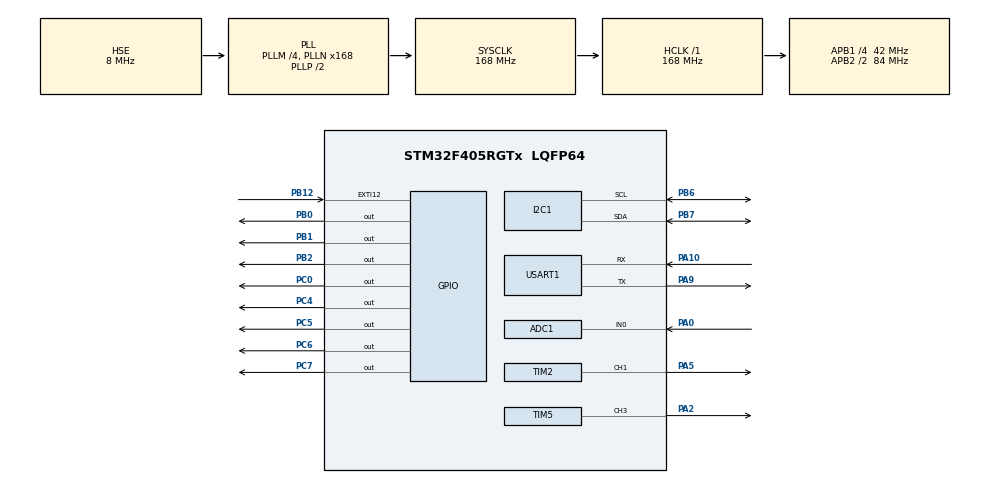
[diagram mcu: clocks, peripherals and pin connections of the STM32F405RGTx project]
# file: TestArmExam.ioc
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Mcu.Family=STM32F4
VP_TIM5_VS_ClockSourceINT.Mode=Internal
PH0-OSC_IN.Signal=RCC_OSC_IN
RCC.CortexFreq_Value=168000000
ADC1.ContinuousConvMode=ENABLE
RCC.SYSCLKSource=RCC_SYSCLKSOURCE_PLLCLK
ProjectManager.StackSize=0x400
RCC.HCLKFreq_Value=168000000
RCC.APB2TimFreq_Value=168000000
PB6.Signal=I2C1_SCL
Dma.ADC1.0.Direction=DMA_PERIPH_TO_MEMORY
PC7.Signal=GPIO_Output
SH.S_TIM5_CH3.0=TIM5_CH3,PWM Generation3 CH3
PB6.Mode=I2C
NVIC.DMA2_Stream0_IRQn=true\:0\:0\:false\:false\:true\:false\:true
Dma.ADC1.0.MemDataAlignment=DMA_MDATAALIGN_HALFWORD
RCC.AHBFreq_Value=168000000
PH0-OSC_IN.Mode=HSE-External-Oscillator
NVIC.EXTI15_10_IRQn=true\:0\:0\:false\:false\:true\:true\:true
ADC1.Channel-0\#ChannelRegularConversion=ADC_CHANNEL_0
RCC.HSE_VALUE=8000000
PB2.Signal=GPIO_Output
PA14.Mode=Serial_Wire
Dma.ADC1.0.PeriphInc=DMA_PINC_DISABLE
PB7.Signal=I2C1_SDA
SH.ADCx_IN0.0=ADC1_IN0,IN0
TIM2.Channel-PWM\ Generation1\ CH1=TIM_CHANNEL_1
ADC1.SamplingTime-0\#ChannelRegularConversion=ADC_SAMPLETIME_56CYCLES
PH1-OSC_OUT.Mode=HSE-External-Oscillator
Mcu.Package=LQFP64
TIM2.Prescaler=83
PB1.Signal=GPIO_Output
PA10.Signal=USART1_RX
RCC.APB2CLKDivider=RCC_HCLK_DIV2
RCC.APB1TimFreq_Value=84000000
Dma.ADC1.0.FIFOMode=DMA_FIFOMODE_DISABLE
PC5.Signal=GPIO_Output
NVIC.USART1_IRQn=true\:0\:0\:false\:false\:true\:true\:true
Dma.Request0=ADC1
RCC.PLLSourceVirtual=RCC_PLLSOURCE_HSE
Dma.ADC1.0.Instance=DMA2_Stream0
ADC1.Rank-0\#ChannelRegularConversion=1
PA10.Mode=Asynchronous
PC4.Signal=GPIO_Output
PC6.Signal=GPIO_Output
TIM5.Channel-PWM\ Generation3\ CH3=TIM_CHANNEL_3
PC0.Signal=GPIO_Output
RCC.APB1CLKDivider=RCC_HCLK_DIV4
PA0-WKUP.Signal=ADCx_IN0
PA13.Signal=SYS_JTMS-SWDIO
Dma.ADC1.0.PeriphDataAlignment=DMA_PDATAALIGN_HALFWORD
PA9.Mode=Asynchronous
ProjectManager.TargetToolchain=EWARM V8.32
Dma.ADC1.0.Mode=DMA_CIRCULAR
I2C1.I2C_Mode=I2C_Fast
Dma.ADC1.0.Priority=DMA_PRIORITY_LOW
PA9.Signal=USART1_TX
RCC.LSE_VALUE=32768
PA5.Signal=S_TIM2_CH1_ETR
board=custom
RCC.VCOOutputFreq_Value=336000000
RCC.APB2Freq_Value=84000000
VP_TIM2_VS_ClockSourceINT.Mode=Internal
PH1-OSC_OUT.Signal=RCC_OSC_OUT
ADC1.DMAContinuousRequests=ENABLE
TIM2.Period=100
PA13.Mode=Serial_Wire
Mcu.Name=STM32F405RGTx
PA2.Signal=S_TIM5_CH3
RCC.48MHZClocksFreq_Value=84000000
RCC.SYSCLKFreq_VALUE=168000000
ADC1.master=1
USART1.VirtualMode=VM_ASYNC
PB7.Mode=I2C
SH.S_TIM2_CH1_ETR.0=TIM2_CH1,PWM Generation1 CH1
PA14.Signal=SYS_JTCK-SWCLK
Dma.ADC1.0.MemInc=DMA_MINC_ENABLE
ProjectManager.HeapSize=0x200
RCC.HSI_VALUE=16000000
NVIC.PriorityGroup=NVIC_PRIORITYGROUP_4
ADC1.NbrOfConversionFlag=1
RCC.PLLM=4
RCC.PLLN=168
RCC.APB1Freq_Value=42000000
PB0.Signal=GPIO_Output
PB12.Signal=GPXTI12

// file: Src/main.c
/*
    Created: 2020-06-25
    Author: 임창섭
*/

#include "main.h"
#include "adc.h"
#include "dma.h"
#include "i2c.h"
#include "tim.h"
#include "usart.h"
#include "gpio.h"
#include "lcd.h"
#include "stdio.h"

// TEMP and HUMI
#define SHT2x_ADDR              0x40<<1
#define SHT2x_HOLD_MASTER_T     0xE3
#define SHT2x_HOLD_MASTER_RH    0xE5
#define SHT2x_NOHOLD_MASTER_T   0xF3
#define SHT2x_NOHOLD_MASTER_RH  0xF5
#define SHT2x_WRITE_USER_REG    0xE6
#define SHT2x_READ_USER_REG     0xE7
#define SHT2x_SOFT_RESET        0xFE

char menu = 0;
// UART
uint8_t rxData;

// LCD
char str[16];

// LED
uint16_t LED_Light=0;

// CDS
uint16_t CDS_Data;

// TEMP and HUMI
uint8_t i2cData[2];
uint16_t val = 0;
uint8_t mode;
float TEMP, HUMI;

// Piano
unsigned int DoReMi[8] = {523, 587, 659, 698, 783, 880, 987, 1046};
unsigned long pwmFreq;
unsigned char piano = 0;

void SystemClock_Config(void);

int fputc(int ch, FILE *stream)
{
  HAL_UART_Transmit(&huart1, (uint8_t*)&ch, 1, 10);
  return ch;
}

int main(void)
{
  HAL_Init();
  SystemClock_Config();

  MX_GPIO_Init();
  MX_DMA_Init();
  MX_ADC1_Init();
  MX_I2C1_Init();
  MX_TIM2_Init();
  MX_TIM5_Init();
  MX_USART1_UART_Init();

  lcdInit();
  HAL_UART_Receive_IT(&huart1, &rxData, 1); // UART 인터럽트 실행
  HAL_TIM_PWM_Start(&htim2, TIM_CHANNEL_1); // LED PWM 사용을 위한 설정
  HAL_ADC_Start_DMA(&hadc1, (uint32_t*)&CDS_Data, sizeof(CDS_Data)); // ADC -> CDS 사용을 위한 DMA 설정
  HAL_TIM_PWM_Start(&htim5, TIM_CHANNEL_3); // 부저 PWM 사용을 위한 설정

  lcdClear();
  printf("++++ Menu ++++\n");
  printf("L : LED\n");
  printf("C : CDS\n");
  printf("0~7 : Piano\n");
  printf("T : Temp & Humi\n");
  printf("push button : stop\n");

  while (1)
  {
        if(menu == 1)
        {
            // LED START
            TIM2->CCR1 = LED_Light;
            LED_Light+=15;
            if(LED_Light > 255) LED_Light = 0;
            // LED END
        }

        else if(menu == 2)
        {
            // CDS START
            lcdGotoXY(0, 0);
            sprintf(str, "Cds : %4d", CDS_Data);
            lcdPrint(str);
            // CDS END
        }

        else if(menu == 3)
        {
            // TEMP and HUMI START
            // TEMP
            mode = SHT2x_NOHOLD_MASTER_T;
            HAL_I2C_Master_Transmit(&hi2c1, SHT2x_ADDR, &mode, 1, 10);
            HAL_Delay(100);
            HAL_I2C_Master_Receive(&hi2c1, SHT2x_ADDR, i2cData, 2, 10);

            val = i2cData[0] << 8 | i2cData[1];
            TEMP = -46.85 + 175.72 * ((float)val / 65536);
            lcdGotoXY(0, 0);
            sprintf(str, "TEMP : %5.2lf", TEMP);
            lcdPrint(str);
            // HUMI
            mode = SHT2x_NOHOLD_MASTER_RH;
            HAL_I2C_Master_Transmit(&hi2c1, SHT2x_ADDR, &mode, 1, 10);
            HAL_Delay(100);
            HAL_I2C_Master_Receive(&hi2c1, SHT2x_ADDR, i2cData, 2, 10);

            val = i2cData[0] << 8 | i2cData[1];
            HUMI = -6 + 125 * ((float)val / 65536);
            lcdGotoXY(0, 1);
            sprintf(str, "HUMI : %5.2lf", HUMI);
            lcdPrint(str);
            // TEMP and HUMI END
        }

      else if(menu == 4)
      {
             // Piano START
            TIM5->EGR = TIM5->EGR & 0xFE; //~(0x01)
            pwmFreq = 84000000 / DoReMi[piano];
            TIM5->ARR = pwmFreq - 1;
            TIM5->CCR3 = pwmFreq / 2;
            TIM5->EGR = TIM5->EGR | 0x01;
            HAL_Delay(200);
            TIM5->CCR3 = 0;
            menu=0;
             // Piano END
      }

    HAL_Delay(100);
  }
}

void SystemClock_Config(void)
{
  RCC_OscInitTypeDef RCC_OscInitStruct = {0};
  RCC_ClkInitTypeDef RCC_ClkInitStruct = {0};

  /** Configure the main internal regulator output voltage
  */
  __HAL_RCC_PWR_CLK_ENABLE();
  __HAL_PWR_VOLTAGESCALING_CONFIG(PWR_REGULATOR_VOLTAGE_SCALE1);
  /** Initializes the CPU, AHB and APB busses clocks
  */
  RCC_OscInitStruct.OscillatorType = RCC_OSCILLATORTYPE_HSE;
  RCC_OscInitStruct.HSEState = RCC_HSE_ON;
  RCC_OscInitStruct.PLL.PLLState = RCC_PLL_ON;
  RCC_OscInitStruct.PLL.PLLSource = RCC_PLLSOURCE_HSE;
  RCC_OscInitStruct.PLL.PLLM = 4;
  RCC_OscInitStruct.PLL.PLLN = 168;
  RCC_OscInitStruct.PLL.PLLP = RCC_PLLP_DIV2;
  RCC_OscInitStruct.PLL.PLLQ = 4;
  if (HAL_RCC_OscConfig(&RCC_OscInitStruct) != HAL_OK)
  {
    Error_Handler();
  }
  /** Initializes the CPU, AHB and APB busses clocks
  */
  RCC_ClkInitStruct.ClockType = RCC_CLOCKTYPE_HCLK|RCC_CLOCKTYPE_SYSCLK
                              |RCC_CLOCKTYPE_PCLK1|RCC_CLOCKTYPE_PCLK2;
  RCC_ClkInitStruct.SYSCLKSource = RCC_SYSCLKSOURCE_PLLCLK;
  RCC_ClkInitStruct.AHBCLKDivider = RCC_SYSCLK_DIV1;
  RCC_ClkInitStruct.APB1CLKDivider = RCC_HCLK_DIV4;
  RCC_ClkInitStruct.APB2CLKDivider = RCC_HCLK_DIV2;

  if (HAL_RCC_ClockConfig(&RCC_ClkInitStruct, FLASH_LATENCY_5) != HAL_OK)
  {
    Error_Handler();
  }
}

/* USER CODE BEGIN 4 */
void HAL_GPIO_EXTI_Callback(uint16_t GPIO_Pin)
{
  if(HAL_GPIO_ReadPin(GPIOB, GPIO_PIN_12))
  {
     menu=0;
     LED_Light=0;
     TIM2->CCR1 = 0;
     TIM5->CCR3 = 0;
     lcdClear();
  }
}

void HAL_UART_RxCpltCallback(UART_HandleTypeDef *huart)
{
  HAL_UART_Receive_IT(&huart1, &rxData, 1);
  if(rxData == 'L' || rxData == 'l')
  {
     menu=1;
     LED_Light=0;
     TIM2->CCR1 = 0;
     TIM5->CCR3 = 0;
     lcdClear();
  }
  else if(rxData == 'C' || rxData == 'c')
  {
     menu=2;
     LED_Light=0;
     TIM2->CCR1 = 0;
     TIM5->CCR3 = 0;
     lcdClear();
  }
  else if(rxData == 'T' || rxData == 't')
  {
     menu=3;
     LED_Light=0;
     TIM2->CCR1 = 0;
     TIM5->CCR3 = 0;
     lcdClear();
  }
  else if(rxData >= '0' && rxData <='7')
  {
     menu=4;
     piano=rxData - '0';
     LED_Light=0;
     TIM2->CCR1 = 0;
     TIM5->CCR3 = 0;
     lcdClear();
  }
}
/* USER CODE END 4 */

void Error_Handler(void)
{

}
